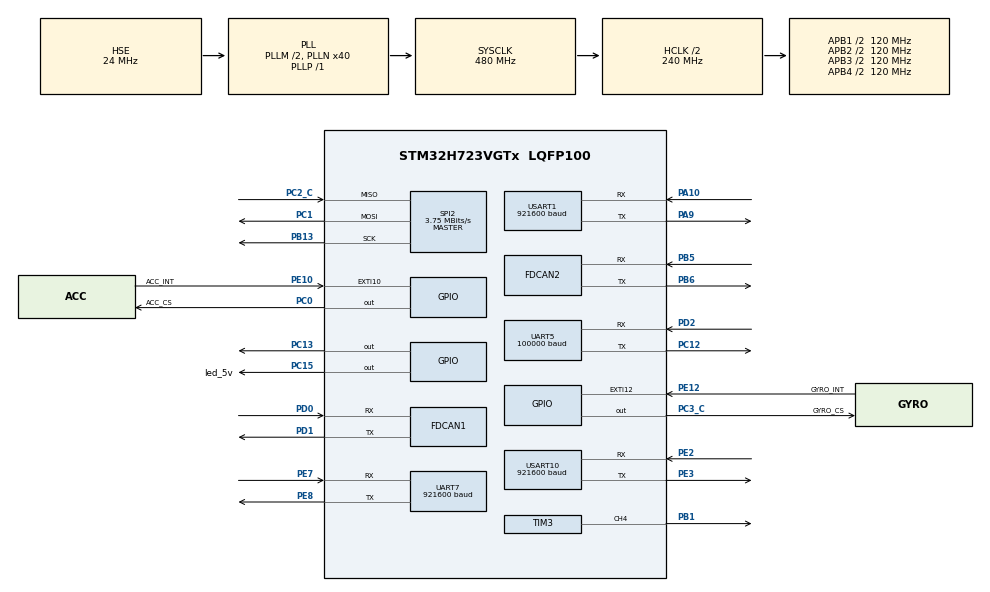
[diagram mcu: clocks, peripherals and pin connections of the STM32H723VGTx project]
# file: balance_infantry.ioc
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CORTEX_M7.default_mode_Activation=0
Dma.Request0=SPI2_RX
Dma.Request1=SPI2_TX
Dma.Request2=UART5_RX
Dma.Request3=USART1_RX
Dma.Request4=USART10_RX
Dma.SPI2_RX.0.Direction=DMA_PERIPH_TO_MEMORY
Dma.SPI2_RX.0.EventEnable=DISABLE
Dma.SPI2_RX.0.FIFOMode=DMA_FIFOMODE_DISABLE
Dma.SPI2_RX.0.Instance=DMA1_Stream2
Dma.SPI2_RX.0.MemDataAlignment=DMA_MDATAALIGN_BYTE
Dma.SPI2_RX.0.MemInc=DMA_MINC_ENABLE
Dma.SPI2_RX.0.Mode=DMA_NORMAL
Dma.SPI2_RX.0.PeriphDataAlignment=DMA_PDATAALIGN_BYTE
Dma.SPI2_RX.0.PeriphInc=DMA_PINC_DISABLE
Dma.SPI2_RX.0.Polarity=HAL_DMAMUX_REQ_GEN_RISING
Dma.SPI2_RX.0.Priority=DMA_PRIORITY_VERY_HIGH
Dma.SPI2_RX.0.RequestNumber=1
Dma.SPI2_RX.0.SignalID=NONE
Dma.SPI2_RX.0.SyncEnable=DISABLE
Dma.SPI2_RX.0.SyncPolarity=HAL_DMAMUX_SYNC_NO_EVENT
Dma.SPI2_RX.0.SyncRequestNumber=1
Dma.SPI2_RX.0.SyncSignalID=NONE
Dma.SPI2_TX.1.Direction=DMA_MEMORY_TO_PERIPH
Dma.SPI2_TX.1.EventEnable=DISABLE
Dma.SPI2_TX.1.FIFOMode=DMA_FIFOMODE_DISABLE
Dma.SPI2_TX.1.Instance=DMA1_Stream1
Dma.SPI2_TX.1.MemDataAlignment=DMA_MDATAALIGN_BYTE
Dma.SPI2_TX.1.MemInc=DMA_MINC_ENABLE
Dma.SPI2_TX.1.Mode=DMA_NORMAL
Dma.SPI2_TX.1.PeriphDataAlignment=DMA_PDATAALIGN_BYTE
Dma.SPI2_TX.1.PeriphInc=DMA_PINC_DISABLE
Dma.SPI2_TX.1.Polarity=HAL_DMAMUX_REQ_GEN_RISING
Dma.SPI2_TX.1.Priority=DMA_PRIORITY_HIGH
Dma.SPI2_TX.1.RequestNumber=1
Dma.SPI2_TX.1.SignalID=NONE
Dma.SPI2_TX.1.SyncEnable=DISABLE
Dma.SPI2_TX.1.SyncPolarity=HAL_DMAMUX_SYNC_NO_EVENT
Dma.SPI2_TX.1.SyncRequestNumber=1
Dma.SPI2_TX.1.SyncSignalID=NONE
Dma.UART5_RX.2.Direction=DMA_PERIPH_TO_MEMORY
Dma.UART5_RX.2.EventEnable=DISABLE
Dma.UART5_RX.2.FIFOMode=DMA_FIFOMODE_DISABLE
Dma.UART5_RX.2.Instance=DMA1_Stream7
Dma.UART5_RX.2.MemDataAlignment=DMA_MDATAALIGN_BYTE
Dma.UART5_RX.2.MemInc=DMA_MINC_ENABLE
Dma.UART5_RX.2.Mode=DMA_NORMAL
Dma.UART5_RX.2.PeriphDataAlignment=DMA_PDATAALIGN_BYTE
Dma.UART5_RX.2.PeriphInc=DMA_PINC_DISABLE
Dma.UART5_RX.2.Polarity=HAL_DMAMUX_REQ_GEN_RISING
Dma.UART5_RX.2.Priority=DMA_PRIORITY_VERY_HIGH
Dma.UART5_RX.2.RequestNumber=1
Dma.UART5_RX.2.SignalID=NONE
Dma.UART5_RX.2.SyncEnable=DISABLE
Dma.UART5_RX.2.SyncPolarity=HAL_DMAMUX_SYNC_NO_EVENT
Dma.UART5_RX.2.SyncRequestNumber=1
Dma.UART5_RX.2.SyncSignalID=NONE
Dma.USART10_RX.4.Direction=DMA_PERIPH_TO_MEMORY
Dma.USART10_RX.4.EventEnable=DISABLE
Dma.USART10_RX.4.FIFOMode=DMA_FIFOMODE_DISABLE
Dma.USART10_RX.4.Instance=DMA1_Stream3
Dma.USART10_RX.4.MemDataAlignment=DMA_MDATAALIGN_BYTE
Dma.USART10_RX.4.MemInc=DMA_MINC_ENABLE
Dma.USART10_RX.4.Mode=DMA_NORMAL
Dma.USART10_RX.4.PeriphDataAlignment=DMA_PDATAALIGN_BYTE
Dma.USART10_RX.4.PeriphInc=DMA_PINC_DISABLE
Dma.USART10_RX.4.Polarity=HAL_DMAMUX_REQ_GEN_RISING
Dma.USART10_RX.4.Priority=DMA_PRIORITY_VERY_HIGH
Dma.USART10_RX.4.RequestNumber=1
Dma.USART10_RX.4.SignalID=NONE
Dma.USART10_RX.4.SyncEnable=DISABLE
Dma.USART10_RX.4.SyncPolarity=HAL_DMAMUX_SYNC_NO_EVENT
Dma.USART10_RX.4.SyncRequestNumber=1
Dma.USART10_RX.4.SyncSignalID=NONE
Dma.USART1_RX.3.Direction=DMA_PERIPH_TO_MEMORY
Dma.USART1_RX.3.EventEnable=DISABLE
Dma.USART1_RX.3.FIFOMode=DMA_FIFOMODE_DISABLE
Dma.USART1_RX.3.Instance=DMA1_Stream0
Dma.USART1_RX.3.MemDataAlignment=DMA_MDATAALIGN_BYTE
Dma.USART1_RX.3.MemInc=DMA_MINC_ENABLE
Dma.USART1_RX.3.Mode=DMA_NORMAL
Dma.USART1_RX.3.PeriphDataAlignment=DMA_PDATAALIGN_BYTE
Dma.USART1_RX.3.PeriphInc=DMA_PINC_DISABLE
Dma.USART1_RX.3.Polarity=HAL_DMAMUX_REQ_GEN_RISING
Dma.USART1_RX.3.Priority=DMA_PRIORITY_VERY_HIGH
Dma.USART1_RX.3.RequestNumber=1
Dma.USART1_RX.3.SignalID=NONE
Dma.USART1_RX.3.SyncEnable=DISABLE
Dma.USART1_RX.3.SyncPolarity=HAL_DMAMUX_SYNC_NO_EVENT
Dma.USART1_RX.3.SyncRequestNumber=1
Dma.USART1_RX.3.SyncSignalID=NONE
FDCAN1.CalculateBaudRateNominal=1000000
FDCAN1.CalculateTimeBitNominal=1000
FDCAN1.CalculateTimeQuantumNominal=25.0
FDCAN1.DataPrescaler=4
FDCAN1.ExtFiltersNbr=5
FDCAN1.NominalPrescaler=3
FDCAN1.NominalTimeSeg1=29
FDCAN1.NominalTimeSeg2=10
FDCAN1.RxFifo0ElmtSize=FDCAN_DATA_BYTES_24
FDCAN1.RxFifo0ElmtsNbr=4
FDCAN1.RxFifo1ElmtSize=FDCAN_DATA_BYTES_24
FDCAN1.StdFiltersNbr=5
FDCAN1.TxElmtSize=FDCAN_DATA_BYTES_24
FDCAN1.TxFifoQueueElmtsNbr=4
FDCAN2.CalculateBaudRateNominal=1000000
FDCAN2.CalculateTimeBitNominal=1000
FDCAN2.CalculateTimeQuantumNominal=25.0
FDCAN2.DataPrescaler=3
FDCAN2.DataSyncJumpWidth=10
FDCAN2.DataTimeSeg1=29
FDCAN2.DataTimeSeg2=10
FDCAN2.ExtFiltersNbr=0
FDCAN2.MessageRAMOffset=0x406
FDCAN2.Mode=FDCAN_MODE_NORMAL
FDCAN2.NominalPrescaler=3
FDCAN2.NominalTimeSeg1=29
FDCAN2.NominalTimeSeg2=10
FDCAN2.RxFifo0ElmtSize=FDCAN_DATA_BYTES_8
FDCAN2.RxFifo0ElmtsNbr=4
FDCAN2.RxFifo1ElmtSize=FDCAN_DATA_BYTES_8
FDCAN2.RxFifo1ElmtsNbr=4
FDCAN2.StdFiltersNbr=14
FDCAN2.TxElmtSize=FDCAN_DATA_BYTES_8
FDCAN2.TxFifoQueueElmtsNbr=4
FREERTOS.Tasks01=defaultTask,0,128,StartDefaultTask,Default,NULL,Dynamic,NULL,NULL;INS_TASK,2,1024,StartInsTask,Default,NULL,Dynamic,NULL,NULL;VOFADEBUG,0,256,StartVofaDebug,Default,NULL,Dynamic,NULL,NULL;CHASSISR_TASK,1,512,StartChassisRTask,Default,NULL,Dynamic,NULL,NULL;MOTORTASK,1,512,StartMotorTask,Default,NULL,Dynamic,NULL,NULL;REMOTE_TASK,1,512,StartRemoteTask,Default,NULL,Dynamic,NULL,NULL;CHASSISL_TASK,1,512,StartChassisLTask,Default,NULL,Dynamic,NULL,NULL;OBSERVE_TASK,1,512,StartObserveTask,Default,NULL,Dynamic,NULL,NULL
FREERTOS.configENABLE_FPU=1
FREERTOS.configTOTAL_HEAP_SIZE=30720
Mcu.Family=STM32H7
Mcu.Name=STM32H723VGTx
Mcu.Package=LQFP100
NVIC.DMA1_Stream0_IRQn=true\:5\:0\:false\:false\:true\:true\:false\:true\:true
NVIC.DMA1_Stream1_IRQn=true\:5\:0\:false\:false\:true\:true\:false\:true\:true
NVIC.DMA1_Stream2_IRQn=true\:5\:0\:false\:false\:true\:true\:false\:true\:true
NVIC.DMA1_Stream3_IRQn=true\:5\:0\:false\:false\:true\:true\:false\:true\:true
NVIC.DMA1_Stream7_IRQn=true\:5\:0\:false\:false\:true\:false\:false\:true\:true
NVIC.FDCAN1_IT0_IRQn=true\:5\:0\:false\:false\:true\:true\:true\:true\:true
NVIC.FDCAN2_IT1_IRQn=true\:5\:0\:false\:false\:true\:true\:true\:true\:true
NVIC.PriorityGroup=NVIC_PRIORITYGROUP_4
NVIC.SPI2_IRQn=true\:5\:0\:false\:false\:true\:true\:false\:true\:true
NVIC.TIM2_IRQn=true\:15\:0\:false\:false\:true\:false\:false\:true\:true
NVIC.TimeBase=TIM2_IRQn
NVIC.TimeBaseIP=TIM2
NVIC.UART5_IRQn=true\:5\:0\:false\:false\:true\:true\:true\:true\:true
NVIC.UART7_IRQn=true\:5\:0\:false\:false\:true\:true\:true\:true\:true
NVIC.USART10_IRQn=true\:5\:0\:false\:false\:true\:true\:true\:true\:true
NVIC.USART1_IRQn=true\:5\:0\:false\:false\:true\:true\:true\:true\:true
PA10.Mode=Asynchronous
PA10.Signal=USART1_RX
PA13(JTMS/SWDIO).Mode=Serial_Wire
PA13(JTMS/SWDIO).Signal=DEBUG_JTMS-SWDIO
PA14(JTCK/SWCLK).Mode=Serial_Wire
PA14(JTCK/SWCLK).Signal=DEBUG_JTCK-SWCLK
PA9.Mode=Asynchronous
PA9.Signal=USART1_TX
PB1.Signal=S_TIM3_CH4
PB13.GPIO_Speed=GPIO_SPEED_FREQ_VERY_HIGH
PB13.Mode=Full_Duplex_Master
PB13.Signal=SPI2_SCK
PB5.Mode=FDCAN_Activate
PB5.Signal=FDCAN2_RX
PB6.Mode=FDCAN_Activate
PB6.Signal=FDCAN2_TX
PC0.GPIO_Label=ACC_CS
PC0.GPIO_Speed=GPIO_SPEED_FREQ_VERY_HIGH
PC0.PinState=GPIO_PIN_SET
PC0.Signal=GPIO_Output
PC1.GPIO_Speed=GPIO_SPEED_FREQ_VERY_HIGH
PC1.Mode=Full_Duplex_Master
PC1.Signal=SPI2_MOSI
PC12.Mode=Asynchronous
PC12.Signal=UART5_TX
PC13.PinState=GPIO_PIN_SET
PC13.Signal=GPIO_Output
PC15-OSC32_OUT.GPIO_Label=led_5v
PC15-OSC32_OUT.PinState=GPIO_PIN_SET
PC15-OSC32_OUT.Signal=GPIO_Output
PC2_C.GPIO_Speed=GPIO_SPEED_FREQ_VERY_HIGH
PC2_C.Mode=Full_Duplex_Master
PC2_C.Signal=SPI2_MISO
PC3_C.GPIO_Label=GYRO_CS
PC3_C.GPIO_Speed=GPIO_SPEED_FREQ_VERY_HIGH
PC3_C.PinState=GPIO_PIN_SET
PC3_C.Signal=GPIO_Output
PD0.Mode=FDCAN_Activate
PD0.Signal=FDCAN1_RX
PD1.Mode=FDCAN_Activate
PD1.Signal=FDCAN1_TX
PD2.Mode=Asynchronous
PD2.Signal=UART5_RX
PE10.GPIO_Label=ACC_INT
PE10.Signal=GPXTI10
PE12.GPIO_Label=GYRO_INT
PE12.Signal=GPXTI12
PE2.Mode=Asynchronous
PE2.Signal=USART10_RX
PE3.Mode=Asynchronous
PE3.Signal=USART10_TX
PE7.Mode=Asynchronous
PE7.Signal=UART7_RX
PE8.Mode=Asynchronous
PE8.Signal=UART7_TX
PH0-OSC_IN.Mode=HSE-External-Oscillator
PH0-OSC_IN.Signal=RCC_OSC_IN
PH1-OSC_OUT.Mode=HSE-External-Oscillator
PH1-OSC_OUT.Signal=RCC_OSC_OUT
ProjectManager.HeapSize=0x1000
ProjectManager.StackSize=0x1000
ProjectManager.TargetToolchain=CMake
RCC.ADCFreq_Value=96000000
RCC.APB1Freq_Value=120000000
RCC.APB2Freq_Value=120000000
RCC.APB3Freq_Value=120000000
RCC.APB4Freq_Value=120000000
RCC.CortexFreq_Value=480000000
RCC.D1PPRE=RCC_APB3_DIV2
RCC.D2PPRE1=RCC_APB1_DIV2
RCC.D2PPRE2=RCC_APB2_DIV2
RCC.D3PPRE=RCC_APB4_DIV2
RCC.DIVM1=2
RCC.DIVM2=2
RCC.DIVN1=40
RCC.DIVN2=16
RCC.DIVP1=1
RCC.DIVQ1=4
RCC.HCLKFreq_Value=240000000
RCC.HPRE=RCC_HCLK_DIV2
RCC.HSE_VALUE=24000000
RCC.PLLFRACN=0
RCC.PLLSourceVirtual=RCC_PLLSOURCE_HSE
RCC.SYSCLKFreq_VALUE=480000000
RCC.SYSCLKSource=RCC_SYSCLKSOURCE_PLLCLK
RCC.USBFreq_Value=120000000
SH.S_TIM3_CH4.0=TIM3_CH4,PWM Generation4 CH4
SPI2.BaudRatePrescaler=SPI_BAUDRATEPRESCALER_32
SPI2.CLKPhase=SPI_PHASE_2EDGE
SPI2.CLKPolarity=SPI_POLARITY_HIGH
SPI2.CalculateBaudRate=3.75 MBits/s
SPI2.DataSize=SPI_DATASIZE_8BIT
SPI2.Direction=SPI_DIRECTION_2LINES
SPI2.Mode=SPI_MODE_MASTER
SPI2.VirtualType=VM_MASTER
STMicroelectronics.X-CUBE-ALGOBUILD.1.4.0.LibraryCcDSPOoLibraryJjDSPOoLibrary=true
TIM3.AutoReloadPreload=TIM_AUTORELOAD_PRELOAD_ENABLE
TIM3.Channel-PWM\ Generation4\ CH4=TIM_CHANNEL_4
TIM3.Period=10000-1
TIM3.Prescaler=24-1
UART5.BaudRate=100000
UART5.WordLength=WORDLENGTH_9B
UART7.BaudRate=921600
USART1.BaudRate=921600
USART1.FIFOMode=FIFOMODE_ENABLE
USART1.Mode=MODE_RX
USART1.VirtualMode-Asynchronous=VM_ASYNC
USART10.BaudRate=921600
USART10.FIFOMode=FIFOMODE_ENABLE
USART10.Mode=MODE_RX
USART10.VirtualMode=VM_ASYNC
VP_FREERTOS_VS_CMSIS_V1.Mode=CMSIS_V1
VP_MEMORYMAP_VS_MEMORYMAP.Mode=CurAppReg
VP_STMicroelectronics.X-CUBE-ALGOBUILD_VS_DSPOoLibraryJjLibrary_1.4.0_1.4.0.Mode=DSPOoLibraryJjLibrary
VP_SYS_VS_tim2.Mode=TIM2
board=custom

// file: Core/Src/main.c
/* USER CODE BEGIN Header */
/**
  ******************************************************************************
  * @file           : main.c
  * @brief          : Main program body
  ******************************************************************************
  * @attention
  *
  * Copyright (c) 2025 STMicroelectronics.
  * All rights reserved.
  *
  * This software is licensed under terms that can be found in the LICENSE file
  * in the root directory of this software component.
  * If no LICENSE file comes with this software, it is provided AS-IS.
  *
  ******************************************************************************
  */
/* USER CODE END Header */
#include "main.h"
#include "cmsis_os.h"
#include "dma.h"
#include "fdcan.h"
#include "spi.h"
#include "tim.h"
#include "usart.h"
#include "gpio.h"

/* USER CODE BEGIN Includes */
#include "Robot.h"
/* USER CODE END Includes */

void SystemClock_Config(void);
void MX_FREERTOS_Init(void);

int main(void)
{

  /* MCU Configuration--------------------------------------------------------*/

  /* Reset of all peripherals, Initializes the Flash interface and the Systick. */
  HAL_Init();

  /* Configure the system clock */
  SystemClock_Config();

  /* Initialize all configured peripherals */
  MX_GPIO_Init();
  MX_DMA_Init();
  MX_SPI2_Init();
  MX_FDCAN1_Init();
  MX_FDCAN2_Init();
  MX_TIM3_Init();
  MX_UART7_Init();
  MX_UART5_Init();
  MX_USART1_UART_Init();
  MX_USART10_UART_Init();
  /* USER CODE BEGIN 2 */
  RobotInit();
  /* USER CODE END 2 */

  /* Call init function for freertos objects (in cmsis_os2.c) */
  MX_FREERTOS_Init();

  /* Start scheduler */
  osKernelStart();

  /* We should never get here as control is now taken by the scheduler */

  /* Infinite loop */
  while (1)
  {

  }
}

void SystemClock_Config(void)
{
  RCC_OscInitTypeDef RCC_OscInitStruct = {0};
  RCC_ClkInitTypeDef RCC_ClkInitStruct = {0};

  /** Supply configuration update enable
  */
  HAL_PWREx_ConfigSupply(PWR_LDO_SUPPLY);

  /** Configure the main internal regulator output voltage
  */
  __HAL_PWR_VOLTAGESCALING_CONFIG(PWR_REGULATOR_VOLTAGE_SCALE0);

  while(!__HAL_PWR_GET_FLAG(PWR_FLAG_VOSRDY)) {}

  /** Initializes the RCC Oscillators according to the specified parameters
  * in the RCC_OscInitTypeDef structure.
  */
  RCC_OscInitStruct.OscillatorType = RCC_OSCILLATORTYPE_HSE;
  RCC_OscInitStruct.HSEState = RCC_HSE_ON;
  RCC_OscInitStruct.PLL.PLLState = RCC_PLL_ON;
  RCC_OscInitStruct.PLL.PLLSource = RCC_PLLSOURCE_HSE;
  RCC_OscInitStruct.PLL.PLLM = 2;
  RCC_OscInitStruct.PLL.PLLN = 40;
  RCC_OscInitStruct.PLL.PLLP = 1;
  RCC_OscInitStruct.PLL.PLLQ = 4;
  RCC_OscInitStruct.PLL.PLLR = 2;
  RCC_OscInitStruct.PLL.PLLRGE = RCC_PLL1VCIRANGE_3;
  RCC_OscInitStruct.PLL.PLLVCOSEL = RCC_PLL1VCOWIDE;
  RCC_OscInitStruct.PLL.PLLFRACN = 0;
  if (HAL_RCC_OscConfig(&RCC_OscInitStruct) != HAL_OK)
  {
    Error_Handler();
  }

  /** Initializes the CPU, AHB and APB buses clocks
  */
  RCC_ClkInitStruct.ClockType = RCC_CLOCKTYPE_HCLK|RCC_CLOCKTYPE_SYSCLK
                              |RCC_CLOCKTYPE_PCLK1|RCC_CLOCKTYPE_PCLK2
                              |RCC_CLOCKTYPE_D3PCLK1|RCC_CLOCKTYPE_D1PCLK1;
  RCC_ClkInitStruct.SYSCLKSource = RCC_SYSCLKSOURCE_PLLCLK;
  RCC_ClkInitStruct.SYSCLKDivider = RCC_SYSCLK_DIV1;
  RCC_ClkInitStruct.AHBCLKDivider = RCC_HCLK_DIV2;
  RCC_ClkInitStruct.APB3CLKDivider = RCC_APB3_DIV2;
  RCC_ClkInitStruct.APB1CLKDivider = RCC_APB1_DIV2;
  RCC_ClkInitStruct.APB2CLKDivider = RCC_APB2_DIV2;
  RCC_ClkInitStruct.APB4CLKDivider = RCC_APB4_DIV2;

  if (HAL_RCC_ClockConfig(&RCC_ClkInitStruct, FLASH_LATENCY_3) != HAL_OK)
  {
    Error_Handler();
  }
}

void HAL_TIM_PeriodElapsedCallback(TIM_HandleTypeDef *htim)
{
  if (htim->Instance == TIM2)
  {
    HAL_IncTick();
  }
}

void Error_Handler(void)
{
  __disable_irq();
  while (1)
  {
  }
}

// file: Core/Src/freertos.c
/* USER CODE BEGIN Header */
/**
  ******************************************************************************
  * File Name          : freertos.c
  * Description        : Code for freertos applications
  ******************************************************************************
  * @attention
  *
  * Copyright (c) 2025 STMicroelectronics.
  * All rights reserved.
  *
  * This software is licensed under terms that can be found in the LICENSE file
  * in the root directory of this software component.
  * If no LICENSE file comes with this software, it is provided AS-IS.
  *
  ******************************************************************************
  */
/* USER CODE END Header */

#include "FreeRTOS.h"
#include "task.h"
#include "main.h"
#include "cmsis_os.h"

/* USER CODE BEGIN Includes */
#include "ins_task.h"
#include "chassisR_task.h"
#include "chassisL_task.h"
#include "vofa_task.h"
#include "remote_task.h"
#include "observe_task.h"
#include "Robot.h"
/* USER CODE END Includes */

osThreadId defaultTaskHandle;
osThreadId INS_TASKHandle;
osThreadId VOFADEBUGHandle;
osThreadId CHASSISR_TASKHandle;
osThreadId MOTORTASKHandle;
osThreadId REMOTE_TASKHandle;
osThreadId CHASSISL_TASKHandle;
osThreadId OBSERVE_TASKHandle;

void StartDefaultTask(void const * argument);
void StartInsTask(void const * argument);
void StartVofaDebug(void const * argument);
void StartChassisRTask(void const * argument);
void StartMotorTask(void const * argument);
void StartRemoteTask(void const * argument);
void StartChassisLTask(void const * argument);
void StartObserveTask(void const * argument);

void MX_FREERTOS_Init(void); /* (MISRA C 2004 rule 8.1) */

/* GetIdleTaskMemory prototype (linked to static allocation support) */
void vApplicationGetIdleTaskMemory( StaticTask_t **ppxIdleTaskTCBBuffer, StackType_t **ppxIdleTaskStackBuffer, uint32_t *pulIdleTaskStackSize );

/* USER CODE BEGIN GET_IDLE_TASK_MEMORY */
static StaticTask_t xIdleTaskTCBBuffer;
static StackType_t xIdleStack[configMINIMAL_STACK_SIZE];

void vApplicationGetIdleTaskMemory( StaticTask_t **ppxIdleTaskTCBBuffer, StackType_t **ppxIdleTaskStackBuffer, uint32_t *pulIdleTaskStackSize )
{
  *ppxIdleTaskTCBBuffer = &xIdleTaskTCBBuffer;
  *ppxIdleTaskStackBuffer = &xIdleStack[0];
  *pulIdleTaskStackSize = configMINIMAL_STACK_SIZE;
  /* place for user code */
}
/* USER CODE END GET_IDLE_TASK_MEMORY */

void MX_FREERTOS_Init(void) {

  /* Create the thread(s) */
  /* definition and creation of defaultTask */
  osThreadDef(defaultTask, StartDefaultTask, osPriorityNormal, 0, 128);
  defaultTaskHandle = osThreadCreate(osThread(defaultTask), NULL);

  /* definition and creation of INS_TASK */
  osThreadDef(INS_TASK, StartInsTask, osPriorityHigh, 0, 1024);
  INS_TASKHandle = osThreadCreate(osThread(INS_TASK), NULL);

  /* definition and creation of VOFADEBUG */
  osThreadDef(VOFADEBUG, StartVofaDebug, osPriorityNormal, 0, 256);
  VOFADEBUGHandle = osThreadCreate(osThread(VOFADEBUG), NULL);

  /* definition and creation of CHASSISR_TASK */
  osThreadDef(CHASSISR_TASK, StartChassisRTask, osPriorityAboveNormal, 0, 512);
  CHASSISR_TASKHandle = osThreadCreate(osThread(CHASSISR_TASK), NULL);

  /* definition and creation of MOTORTASK */
  osThreadDef(MOTORTASK, StartMotorTask, osPriorityAboveNormal, 0, 512);
  MOTORTASKHandle = osThreadCreate(osThread(MOTORTASK), NULL);

  /* definition and creation of REMOTE_TASK */
  osThreadDef(REMOTE_TASK, StartRemoteTask, osPriorityAboveNormal, 0, 512);
  REMOTE_TASKHandle = osThreadCreate(osThread(REMOTE_TASK), NULL);

  /* definition and creation of CHASSISL_TASK */
  osThreadDef(CHASSISL_TASK, StartChassisLTask, osPriorityAboveNormal, 0, 512);
  CHASSISL_TASKHandle = osThreadCreate(osThread(CHASSISL_TASK), NULL);

  /* definition and creation of OBSERVE_TASK */
  osThreadDef(OBSERVE_TASK, StartObserveTask, osPriorityAboveNormal, 0, 512);
  OBSERVE_TASKHandle = osThreadCreate(osThread(OBSERVE_TASK), NULL);

}

void StartDefaultTask(void const * argument)
{
  for(;;)
  {
    osDelay(1);
  }
}

void StartInsTask(void const * argument)
{
  /* USER CODE BEGIN StartInsTask */
  /* Infinite loop */
  for(;;)
  {
    INS_task();
    osDelay(1);
  }
  /* USER CODE END StartInsTask */
}

void StartVofaDebug(void const * argument)
{
  /* USER CODE BEGIN StartVofaDebug */
  /* Infinite loop */
  for(;;)
  {
    VofaDebug_Task();
    osDelay(1);
  }
  /* USER CODE END StartVofaDebug */
}

void StartChassisRTask(void const * argument)
{
  /* USER CODE BEGIN StartChassisRTask */
  /* Infinite loop */
  for(;;)
  {
    ChassisR_Task();
    osDelay(1);
  }
  /* USER CODE END StartChassisRTask */
}

void StartMotorTask(void const * argument)
{
  /* USER CODE BEGIN StartMotorTask */
  /* Infinite loop */
  for(;;)
  {
    MotorTask();
    osDelay(1);
  }
  /* USER CODE END StartMotorTask */
}

void StartRemoteTask(void const * argument)
{
  /* USER CODE BEGIN StartRemoteTask */
  /* Infinite loop */
  for(;;)
  {
    Remote_Task();
    osDelay(1);
  }
  /* USER CODE END StartRemoteTask */
}

void StartChassisLTask(void const * argument)
{
  /* USER CODE BEGIN StartChassisLTask */
  /* Infinite loop */
  for(;;)
  {
    ChassisL_Task();
    osDelay(1);
  }
  /* USER CODE END StartChassisLTask */
}

void StartObserveTask(void const * argument)
{
  /* USER CODE BEGIN StartObserveTask */
  /* Infinite loop */
  for(;;)
  {
    Observe_Task();
    osDelay(1);
  }
  /* USER CODE END StartObserveTask */
}
